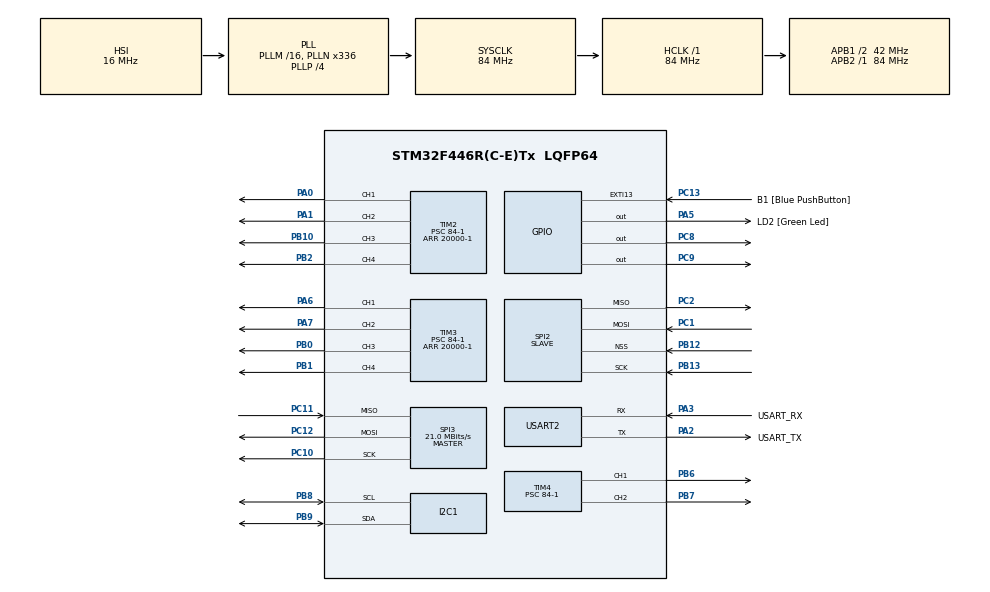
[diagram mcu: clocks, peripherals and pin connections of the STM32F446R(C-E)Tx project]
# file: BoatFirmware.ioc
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Dma.Request0=SPI2_RX
Dma.SPI2_RX.0.Direction=DMA_PERIPH_TO_MEMORY
Dma.SPI2_RX.0.FIFOMode=DMA_FIFOMODE_DISABLE
Dma.SPI2_RX.0.Instance=DMA1_Stream3
Dma.SPI2_RX.0.MemDataAlignment=DMA_MDATAALIGN_BYTE
Dma.SPI2_RX.0.MemInc=DMA_MINC_ENABLE
Dma.SPI2_RX.0.Mode=DMA_NORMAL
Dma.SPI2_RX.0.PeriphDataAlignment=DMA_PDATAALIGN_BYTE
Dma.SPI2_RX.0.PeriphInc=DMA_PINC_DISABLE
Dma.SPI2_RX.0.Priority=DMA_PRIORITY_HIGH
Mcu.Family=STM32F4
Mcu.Name=STM32F446R(C-E)Tx
Mcu.Package=LQFP64
NVIC.DMA1_Stream3_IRQn=true\:0\:0\:false\:false\:true\:false\:true\:true
NVIC.PriorityGroup=NVIC_PRIORITYGROUP_0
PA0-WKUP.Signal=S_TIM2_CH1_ETR
PA1.Signal=S_TIM2_CH2
PA10.Signal=USART1_RX
PA13.GPIO_Label=TMS
PA13.Mode=Serial_Wire
PA13.Signal=SYS_JTMS-SWDIO
PA14.GPIO_Label=TCK
PA14.Mode=Serial_Wire
PA14.Signal=SYS_JTCK-SWCLK
PA2.GPIO_Label=USART_TX
PA2.Mode=Asynchronous
PA2.Signal=USART2_TX
PA3.GPIO_Label=USART_RX
PA3.Mode=Asynchronous
PA3.Signal=USART2_RX
PA5.GPIO_Label=LD2 [Green Led]
PA5.Signal=GPIO_Output
PA6.Signal=S_TIM3_CH1
PA7.Signal=S_TIM3_CH2
PB0.Signal=S_TIM3_CH3
PB1.Signal=S_TIM3_CH4
PB10.Signal=S_TIM2_CH3
PB12.Mode=NSS_Signal_Hard_Input
PB12.Signal=SPI2_NSS
PB13.Mode=Full_Duplex_Slave
PB13.Signal=SPI2_SCK
PB2.Signal=S_TIM2_CH4
PB3.GPIO_Label=SWO
PB3.Signal=SYS_JTDO-SWO
PB6.Signal=S_TIM4_CH1
PB7.Signal=S_TIM4_CH2
PB8.Mode=I2C
PB8.Signal=I2C1_SCL
PB9.Mode=I2C
PB9.Signal=I2C1_SDA
PC1.Mode=Full_Duplex_Slave
PC1.Signal=SPI2_MOSI
PC10.Mode=Full_Duplex_Master
PC10.Signal=SPI3_SCK
PC11.Mode=Full_Duplex_Master
PC11.Signal=SPI3_MISO
PC12.Mode=Full_Duplex_Master
PC12.Signal=SPI3_MOSI
PC13.GPIO_Label=B1 [Blue PushButton]
PC13.GPIO_ModeDefaultEXTI=GPIO_MODE_IT_FALLING
PC13.Signal=GPXTI13
PC14-OSC32_IN.Mode=LSE-External-Oscillator
PC14-OSC32_IN.Signal=RCC_OSC32_IN
PC15-OSC32_OUT.Mode=LSE-External-Oscillator
PC15-OSC32_OUT.Signal=RCC_OSC32_OUT
PC2.Mode=Full_Duplex_Slave
PC2.Signal=SPI2_MISO
PC8.Signal=GPIO_Output
PC9.Signal=GPIO_Output
PH0-OSC_IN.Mode=HSE-External-Oscillator
PH0-OSC_IN.Signal=RCC_OSC_IN
PH1-OSC_OUT.Mode=HSE-External-Oscillator
PH1-OSC_OUT.Signal=RCC_OSC_OUT
ProjectManager.HeapSize=0x200
ProjectManager.StackSize=0x400
ProjectManager.TargetToolchain=STM32CubeIDE
RCC.48MHZClocksFreq_Value=84000000
RCC.AHBFreq_Value=84000000
RCC.APB1CLKDivider=RCC_HCLK_DIV2
RCC.APB1Freq_Value=42000000
RCC.APB1TimFreq_Value=84000000
RCC.APB2Freq_Value=84000000
RCC.APB2TimFreq_Value=84000000
RCC.CortexFreq_Value=84000000
RCC.FLatency-AdvancedSettings=FLASH_LATENCY_2
RCC.HCLKFreq_Value=84000000
RCC.HSE_VALUE=8000000
RCC.HSI_VALUE=16000000
RCC.PLLN=336
RCC.PLLP=RCC_PLLP_DIV4
RCC.SYSCLKFreq_VALUE=84000000
RCC.SYSCLKSource=RCC_SYSCLKSOURCE_PLLCLK
RCC.USBFreq_Value=168000000
RCC.VCOOutputFreq_Value=336000000
SH.S_TIM2_CH1_ETR.0=TIM2_CH1,PWM Generation1 CH1
SH.S_TIM2_CH2.0=TIM2_CH2,PWM Generation2 CH2
SH.S_TIM2_CH3.0=TIM2_CH3,PWM Generation3 CH3
SH.S_TIM2_CH4.0=TIM2_CH4,PWM Generation4 CH4
SH.S_TIM3_CH1.0=TIM3_CH1,PWM Generation1 CH1
SH.S_TIM3_CH2.0=TIM3_CH2,PWM Generation2 CH2
SH.S_TIM3_CH3.0=TIM3_CH3,PWM Generation3 CH3
SH.S_TIM3_CH4.0=TIM3_CH4,PWM Generation4 CH4
SH.S_TIM4_CH1.0=TIM4_CH1,PWM Generation1 CH1
SH.S_TIM4_CH2.0=TIM4_CH2,PWM Generation2 CH2
SPI2.Direction=SPI_DIRECTION_2LINES
SPI2.Mode=SPI_MODE_SLAVE
SPI2.VirtualNSS=VM_NSSHARD
SPI2.VirtualType=VM_SLAVE
SPI3.CalculateBaudRate=21.0 MBits/s
SPI3.Direction=SPI_DIRECTION_2LINES
SPI3.Mode=SPI_MODE_MASTER
SPI3.VirtualType=VM_MASTER
TIM2.AutoReloadPreload=TIM_AUTORELOAD_PRELOAD_ENABLE
TIM2.Channel-PWM\ Generation1\ CH1=TIM_CHANNEL_1
TIM2.Channel-PWM\ Generation2\ CH2=TIM_CHANNEL_2
TIM2.Channel-PWM\ Generation3\ CH3=TIM_CHANNEL_3
TIM2.Channel-PWM\ Generation4\ CH4=TIM_CHANNEL_4
TIM2.Period=20000-1
TIM2.Prescaler=84-1
TIM3.AutoReloadPreload=TIM_AUTORELOAD_PRELOAD_ENABLE
TIM3.Channel-PWM\ Generation1\ CH1=TIM_CHANNEL_1
TIM3.Channel-PWM\ Generation2\ CH2=TIM_CHANNEL_2
TIM3.Channel-PWM\ Generation3\ CH3=TIM_CHANNEL_3
TIM3.Channel-PWM\ Generation4\ CH4=TIM_CHANNEL_4
TIM3.Period=20000-1
TIM3.Prescaler=84-1
TIM4.Channel-PWM\ Generation1\ CH1=TIM_CHANNEL_1
TIM4.Channel-PWM\ Generation2\ CH2=TIM_CHANNEL_2
TIM4.Period=20000-1
TIM4.Prescaler=84-1
USART2.VirtualMode=VM_ASYNC
board=NUCLEO-F446RE

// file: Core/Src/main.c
/* USER CODE BEGIN Header */
/**
  ******************************************************************************
  * @file           : main.c
  * @brief          : Main program body
  ******************************************************************************
  * @attention
  *
  * Copyright (c) 2024 STMicroelectronics.
  * All rights reserved.
  *
  * This software is licensed under terms that can be found in the LICENSE file
  * in the root directory of this software component.
  * If no LICENSE file comes with this software, it is provided AS-IS.
  *
  ******************************************************************************
  */
/* USER CODE END Header */
#include "main.h"
#include "dma.h"
#include "i2c.h"
#include "spi.h"
#include "tim.h"
#include "usart.h"
#include "gpio.h"

/* USER CODE BEGIN Includes */
#include <string.h>

/* USER CODE END Includes */

void SystemClock_Config(void);

int main(void)
{

  /* USER CODE BEGIN 1 */
	int i =0;
	uint8_t buf [12];

  /* USER CODE END 1 */

  /* MCU Configuration--------------------------------------------------------*/

  /* Reset of all peripherals, Initializes the Flash interface and the Systick. */
  HAL_Init();

  /* Configure the system clock */
  SystemClock_Config();

  /* Initialize all configured peripherals */
  MX_GPIO_Init();
  MX_DMA_Init();
  MX_USART2_UART_Init();
  MX_TIM2_Init();
  MX_TIM3_Init();
  MX_TIM4_Init();
  MX_SPI2_Init();
  MX_SPI3_Init();
  MX_I2C1_Init();

  /* Infinite loop */
  /* USER CODE BEGIN WHILE */

  int x = 0;
  while (1)
  {

	  TIM2->CCR2 = x;
	  HAL_TIM_PWM_Start(&htim2, TIM_CHANNEL_2);
	  TIM3->CCR3 = x;
	  HAL_TIM_PWM_Start(&htim3, TIM_CHANNEL_3);
	  TIM4->CCR4 = x;
	  HAL_TIM_PWM_Start(&htim4, TIM_CHANNEL_4);
//
	  HAL_Delay(250);
	  x+=250;
	  if (x > 3500-1)
	  {
		  x=0;
	  }
	  //sprintf(buf, "%d\r\n", i);

//	  strcpy((char*)buf, i);
//	  strcpy((char*)buf, "\r\n");

	  HAL_UART_Transmit(&huart2, buf, strlen((char*)buf), HAL_MAX_DELAY);
	  HAL_Delay(500);
	  HAL_UART_Receive(&huart2, buf, strlen((char*)buf), HAL_MAX_DELAY);
	  //i++;
    /* USER CODE END WHILE */

  }
}

void SystemClock_Config(void)
{
  RCC_OscInitTypeDef RCC_OscInitStruct = {0};
  RCC_ClkInitTypeDef RCC_ClkInitStruct = {0};

  /** Configure the main internal regulator output voltage
  */
  __HAL_RCC_PWR_CLK_ENABLE();
  __HAL_PWR_VOLTAGESCALING_CONFIG(PWR_REGULATOR_VOLTAGE_SCALE3);

  /** Initializes the RCC Oscillators according to the specified parameters
  * in the RCC_OscInitTypeDef structure.
  */
  RCC_OscInitStruct.OscillatorType = RCC_OSCILLATORTYPE_HSI;
  RCC_OscInitStruct.HSIState = RCC_HSI_ON;
  RCC_OscInitStruct.HSICalibrationValue = RCC_HSICALIBRATION_DEFAULT;
  RCC_OscInitStruct.PLL.PLLState = RCC_PLL_ON;
  RCC_OscInitStruct.PLL.PLLSource = RCC_PLLSOURCE_HSI;
  RCC_OscInitStruct.PLL.PLLM = 16;
  RCC_OscInitStruct.PLL.PLLN = 336;
  RCC_OscInitStruct.PLL.PLLP = RCC_PLLP_DIV4;
  RCC_OscInitStruct.PLL.PLLQ = 2;
  RCC_OscInitStruct.PLL.PLLR = 2;
  if (HAL_RCC_OscConfig(&RCC_OscInitStruct) != HAL_OK)
  {
    Error_Handler();
  }

  /** Initializes the CPU, AHB and APB buses clocks
  */
  RCC_ClkInitStruct.ClockType = RCC_CLOCKTYPE_HCLK|RCC_CLOCKTYPE_SYSCLK
                              |RCC_CLOCKTYPE_PCLK1|RCC_CLOCKTYPE_PCLK2;
  RCC_ClkInitStruct.SYSCLKSource = RCC_SYSCLKSOURCE_PLLCLK;
  RCC_ClkInitStruct.AHBCLKDivider = RCC_SYSCLK_DIV1;
  RCC_ClkInitStruct.APB1CLKDivider = RCC_HCLK_DIV2;
  RCC_ClkInitStruct.APB2CLKDivider = RCC_HCLK_DIV1;

  if (HAL_RCC_ClockConfig(&RCC_ClkInitStruct, FLASH_LATENCY_2) != HAL_OK)
  {
    Error_Handler();
  }
}

void Error_Handler(void)
{
  __disable_irq();
  while (1)
  {
  }
}
